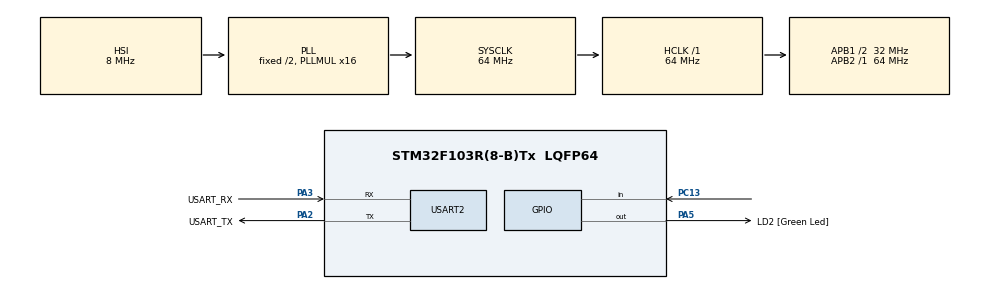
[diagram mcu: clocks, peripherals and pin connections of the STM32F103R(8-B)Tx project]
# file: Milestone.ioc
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FREERTOS.Queues01=CLI_Queue,1,uint8_t,0,Dynamic,NULL,NULL;ped_Queue,4,uint8_t,0,Dynamic,NULL,NULL
FREERTOS.Tasks01=CLI_Input,24,128,Start_CLI_Input,Default,NULL,Dynamic,NULL,NULL;Change_Light,32,128,Start_Change_Light,Default,NULL,Dynamic,NULL,NULL;CLI_Update,8,128,Start_CLI_Update,Default,NULL,Dynamic,NULL,NULL
Mcu.Family=STM32F1
Mcu.Name=STM32F103R(8-B)Tx
Mcu.Package=LQFP64
NVIC.PriorityGroup=NVIC_PRIORITYGROUP_4
NVIC.TIM4_IRQn=true\:15\:0\:false\:false\:true\:false\:false\:true\:true
NVIC.TimeBase=TIM4_IRQn
NVIC.TimeBaseIP=TIM4
NVIC.USART2_IRQn=true\:5\:0\:false\:false\:true\:true\:true\:true\:true
PA13.GPIO_Label=TMS
PA13.Mode=Serial_Wire
PA13.Signal=SYS_JTMS-SWDIO
PA14.GPIO_Label=TCK
PA14.Mode=Serial_Wire
PA14.Signal=SYS_JTCK-SWCLK
PA2.GPIO_Label=USART_TX
PA2.GPIO_Mode=GPIO_MODE_AF_PP
PA2.GPIO_PuPd=GPIO_NOPULL
PA2.GPIO_Speed=GPIO_SPEED_FREQ_LOW
PA2.Mode=Asynchronous
PA2.Signal=USART2_TX
PA3.GPIO_Label=USART_RX
PA3.GPIO_Mode=GPIO_MODE_AF_PP
PA3.GPIO_PuPd=GPIO_NOPULL
PA3.GPIO_Speed=GPIO_SPEED_FREQ_LOW
PA3.Mode=Asynchronous
PA3.Signal=USART2_RX
PA5.GPIO_Label=LD2 [Green Led]
PA5.GPIO_ModeDefaultOutputPP=GPIO_MODE_OUTPUT_PP
PA5.GPIO_PuPd=GPIO_NOPULL
PA5.GPIO_Speed=GPIO_SPEED_FREQ_LOW
PA5.Signal=GPIO_Output
PB3.GPIO_Label=SWO
PB3.Signal=SYS_JTDO-TRACESWO
PC13-TAMPER-RTC.Signal=GPIO_Input
PC14-OSC32_IN.Mode=LSE-External-Oscillator
PC14-OSC32_IN.Signal=RCC_OSC32_IN
PC15-OSC32_OUT.Mode=LSE-External-Oscillator
PC15-OSC32_OUT.Signal=RCC_OSC32_OUT
PD0-OSC_IN.Mode=HSE-External-Clock-Source
PD0-OSC_IN.Signal=RCC_OSC_IN
PD1-OSC_OUT.Mode=HSE-External-Clock-Source
PD1-OSC_OUT.Signal=RCC_OSC_OUT
ProjectManager.HeapSize=0x200
ProjectManager.StackSize=0x400
ProjectManager.TargetToolchain=STM32CubeIDE
RCC.AHBFreq_Value=64000000
RCC.APB1CLKDivider=RCC_HCLK_DIV2
RCC.APB1Freq_Value=32000000
RCC.APB1TimFreq_Value=64000000
RCC.APB2Freq_Value=64000000
RCC.APB2TimFreq_Value=64000000
RCC.HCLKFreq_Value=64000000
RCC.PLLMUL=RCC_PLL_MUL16
RCC.RTCClockSelection=RCC_RTCCLKSOURCE_LSE
RCC.SYSCLKFreq_VALUE=64000000
RCC.SYSCLKSource=RCC_SYSCLKSOURCE_PLLCLK
RCC.USBFreq_Value=64000000
USART2.VirtualMode=VM_ASYNC
VP_FREERTOS_VS_CMSIS_V2.Mode=CMSIS_V2
VP_SYS_VS_tim4.Mode=TIM4
board=NUCLEO-F103RB

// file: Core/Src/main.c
/* USER CODE BEGIN Header */
/**
  ******************************************************************************
  * @file           : main.c
  * @brief          : Main program body
  ******************************************************************************
  * @attention
  *
  * Copyright (c) 2024 STMicroelectronics.
  * All rights reserved.
  *
  * This software is licensed under terms that can be found in the LICENSE file
  * in the root directory of this software component.
  * If no LICENSE file comes with this software, it is provided AS-IS.
  *
  ******************************************************************************
  */
/* USER CODE END Header */
#include "main.h"
#include "cmsis_os.h"

UART_HandleTypeDef huart2;

/* Definitions for CLI_Input */
osThreadId_t CLI_InputHandle;
const osThreadAttr_t CLI_Input_attributes = {
  .name = "CLI_Input",
  .stack_size = 128 * 4,
  .priority = (osPriority_t) osPriorityNormal,
};
/* Definitions for Change_Light */
osThreadId_t Change_LightHandle;
const osThreadAttr_t Change_Light_attributes = {
  .name = "Change_Light",
  .stack_size = 128 * 4,
  .priority = (osPriority_t) osPriorityAboveNormal,
};
/* Definitions for CLI_Update */
osThreadId_t CLI_UpdateHandle;
const osThreadAttr_t CLI_Update_attributes = {
  .name = "CLI_Update",
  .stack_size = 128 * 4,
  .priority = (osPriority_t) osPriorityLow,
};
/* Definitions for CLI_Queue */
osMessageQueueId_t CLI_QueueHandle;
const osMessageQueueAttr_t CLI_Queue_attributes = {
  .name = "CLI_Queue"
};
/* Definitions for ped_Queue */
osMessageQueueId_t ped_QueueHandle;
const osMessageQueueAttr_t ped_Queue_attributes = {
  .name = "ped_Queue"
};

void SystemClock_Config(void);
static void MX_GPIO_Init(void);
static void MX_USART2_UART_Init(void);
void Start_CLI_Input(void *argument);
void Start_Change_Light(void *argument);
void Start_CLI_Update(void *argument);

/* USER CODE BEGIN PFP */

uint8_t cliRXChar;
uint8_t cliBufferTX[30];
uint8_t cliBufferRX[30];
int counter = 0;

/* USER CODE END PFP */

int main(void)
{

  /* MCU Configuration--------------------------------------------------------*/

  /* Reset of all peripherals, Initializes the Flash interface and the Systick. */
  HAL_Init();

  /* Configure the system clock */
  SystemClock_Config();

  /* Initialize all configured peripherals */
  MX_GPIO_Init();
  MX_USART2_UART_Init();
  /* USER CODE BEGIN 2 */

  HAL_UART_Receive_IT (&huart2, &cliRXChar, 1);
  char newLineMessage[] = "Enter a command: ";
  char scrollBox[] = "\x1b[5;r";
  char initialMoveCursor[] = "\x1b[5;0H";

  for(int x = 0; x < sizeof initialMoveCursor; x++)
  	  HAL_UART_Transmit(&huart2, (unsigned char *)&initialMoveCursor[x], 1, 100);
  for(int x = 0; x < sizeof scrollBox; x++)
  	  HAL_UART_Transmit(&huart2, (unsigned char *)&scrollBox[x], 1, 100);
  for(int x = 0; x < sizeof initialMoveCursor; x++)
	  HAL_UART_Transmit(&huart2, (unsigned char *)&initialMoveCursor[x], 1, 100);
  for(int x = 0; x < sizeof newLineMessage; x++)
  	  HAL_UART_Transmit(&huart2, (unsigned char *)&newLineMessage[x], 1, 100);
  /* USER CODE END 2 */

  /* Init scheduler */
  osKernelInitialize();

  /* Create the queue(s) */
  /* creation of CLI_Queue */
  CLI_QueueHandle = osMessageQueueNew (1, sizeof(uint8_t), &CLI_Queue_attributes);

  /* creation of ped_Queue */
  ped_QueueHandle = osMessageQueueNew (4, sizeof(uint8_t), &ped_Queue_attributes);

  /* Create the thread(s) */
  /* creation of CLI_Input */
  CLI_InputHandle = osThreadNew(Start_CLI_Input, NULL, &CLI_Input_attributes);

  /* creation of Change_Light */
  Change_LightHandle = osThreadNew(Start_Change_Light, NULL, &Change_Light_attributes);

  /* creation of CLI_Update */
  CLI_UpdateHandle = osThreadNew(Start_CLI_Update, NULL, &CLI_Update_attributes);

  /* Start scheduler */
  osKernelStart();

  /* We should never get here as control is now taken by the scheduler */

  /* Infinite loop */
  while (1)
  {

  }
}

void SystemClock_Config(void)
{
  RCC_OscInitTypeDef RCC_OscInitStruct = {0};
  RCC_ClkInitTypeDef RCC_ClkInitStruct = {0};

  /** Initializes the RCC Oscillators according to the specified parameters
  * in the RCC_OscInitTypeDef structure.
  */
  RCC_OscInitStruct.OscillatorType = RCC_OSCILLATORTYPE_HSI;
  RCC_OscInitStruct.HSIState = RCC_HSI_ON;
  RCC_OscInitStruct.HSICalibrationValue = RCC_HSICALIBRATION_DEFAULT;
  RCC_OscInitStruct.PLL.PLLState = RCC_PLL_ON;
  RCC_OscInitStruct.PLL.PLLSource = RCC_PLLSOURCE_HSI_DIV2;
  RCC_OscInitStruct.PLL.PLLMUL = RCC_PLL_MUL16;
  if (HAL_RCC_OscConfig(&RCC_OscInitStruct) != HAL_OK)
  {
    Error_Handler();
  }

  /** Initializes the CPU, AHB and APB buses clocks
  */
  RCC_ClkInitStruct.ClockType = RCC_CLOCKTYPE_HCLK|RCC_CLOCKTYPE_SYSCLK
                              |RCC_CLOCKTYPE_PCLK1|RCC_CLOCKTYPE_PCLK2;
  RCC_ClkInitStruct.SYSCLKSource = RCC_SYSCLKSOURCE_PLLCLK;
  RCC_ClkInitStruct.AHBCLKDivider = RCC_SYSCLK_DIV1;
  RCC_ClkInitStruct.APB1CLKDivider = RCC_HCLK_DIV2;
  RCC_ClkInitStruct.APB2CLKDivider = RCC_HCLK_DIV1;

  if (HAL_RCC_ClockConfig(&RCC_ClkInitStruct, FLASH_LATENCY_2) != HAL_OK)
  {
    Error_Handler();
  }
}

static void MX_USART2_UART_Init(void)
{

  huart2.Instance = USART2;
  huart2.Init.BaudRate = 115200;
  huart2.Init.WordLength = UART_WORDLENGTH_8B;
  huart2.Init.StopBits = UART_STOPBITS_1;
  huart2.Init.Parity = UART_PARITY_NONE;
  huart2.Init.Mode = UART_MODE_TX_RX;
  huart2.Init.HwFlowCtl = UART_HWCONTROL_NONE;
  huart2.Init.OverSampling = UART_OVERSAMPLING_16;
  if (HAL_UART_Init(&huart2) != HAL_OK)
  {
    Error_Handler();
  }

}

static void MX_GPIO_Init(void)
{
  GPIO_InitTypeDef GPIO_InitStruct = {0};

  /* GPIO Ports Clock Enable */
  __HAL_RCC_GPIOC_CLK_ENABLE();
  __HAL_RCC_GPIOD_CLK_ENABLE();
  __HAL_RCC_GPIOA_CLK_ENABLE();
  __HAL_RCC_GPIOB_CLK_ENABLE();

  /*Configure GPIO pin Output Level */
  HAL_GPIO_WritePin(LD2_GPIO_Port, LD2_Pin, GPIO_PIN_RESET);

  /*Configure GPIO pin : PC13 */
  GPIO_InitStruct.Pin = GPIO_PIN_13;
  GPIO_InitStruct.Mode = GPIO_MODE_INPUT;
  GPIO_InitStruct.Pull = GPIO_NOPULL;
  HAL_GPIO_Init(GPIOC, &GPIO_InitStruct);

  /*Configure GPIO pin : LD2_Pin */
  GPIO_InitStruct.Pin = LD2_Pin;
  GPIO_InitStruct.Mode = GPIO_MODE_OUTPUT_PP;
  GPIO_InitStruct.Pull = GPIO_NOPULL;
  GPIO_InitStruct.Speed = GPIO_SPEED_FREQ_LOW;
  HAL_GPIO_Init(LD2_GPIO_Port, &GPIO_InitStruct);

}

/* USER CODE BEGIN 4 */
void HAL_UART_RxCpltCallback(UART_HandleTypeDef * husart)
{
	while((HAL_UART_GetState(&huart2)&HAL_UART_STATE_BUSY_RX)==HAL_UART_STATE_BUSY_RX);
	//Listen for the interrupt and buffer one character at a time.
	HAL_UART_Receive_IT(&huart2, &cliRXChar ,1);
}

/* USER CODE END 4 */

void Start_CLI_Input(void *argument)
{
  /* USER CODE BEGIN 5 */
  uint8_t pedestrian = 0;
  /* Infinite loop */
  for(;;)
  {
	if(cliRXChar != '\0')
	{
		pedestrian = CLI_Receive();
		if (pedestrian != 0)
			osMessageQueuePut(ped_QueueHandle, &pedestrian, 0, 500);
	}
    osDelay(100);
  }
  /* USER CODE END 5 */
}

void Start_Change_Light(void *argument)
{
  /* USER CODE BEGIN Start_Change_Light */
  uint8_t lightState = 0;
  uint8_t newLightState = 0;
  uint16_t lightCounter = 0;
  uint8_t pedestrian = 0;
  uint8_t pedestrianNS = 0;
  uint8_t pedestrianEW = 0;
  /* Infinite loop */
  for(;;)
  {
	osMessageQueueGet(ped_QueueHandle, &pedestrian, NULL, 200);
	if(pedestrian == 1)
		pedestrianNS = 1;
	if(pedestrian == 2)
		pedestrianEW = 1;
	newLightState = lightStateChange(lightState, lightCounter, pedestrianNS, pedestrianEW);
	if (newLightState != lightState)
	{
		lightState = newLightState;
		osMessageQueuePut(CLI_QueueHandle, &lightState, 0, 500);
		lightCounter = 0;
		if(lightState == 0 || lightState == 4)
		{
			pedestrian = 0;
			pedestrianNS = 0;
			pedestrianEW = 0;
		}
	}
	else
		lightCounter++;
    osDelay(500);
  }
  /* USER CODE END Start_Change_Light */
}

void Start_CLI_Update(void *argument)
{
  /* USER CODE BEGIN Start_CLI_Update */
  uint8_t newState = 0;
  uint8_t lightState = 7;
  /* Infinite loop */
  for(;;)
  {
	osMessageQueueGet(CLI_QueueHandle, &newState, NULL, 200);
	if (newState != lightState)
	{
		lightState = newState;
		CLI_Display(lightState);
	}
    osDelay(100);
  }
  /* USER CODE END Start_CLI_Update */
}

void HAL_TIM_PeriodElapsedCallback(TIM_HandleTypeDef *htim)
{
  if (htim->Instance == TIM4) {
    HAL_IncTick();
  }
}

void Error_Handler(void)
{
  __disable_irq();
  while (1)
  {
  }
}
